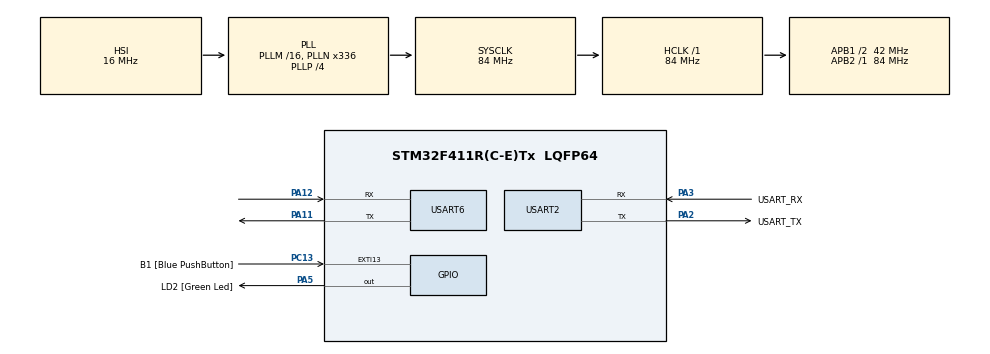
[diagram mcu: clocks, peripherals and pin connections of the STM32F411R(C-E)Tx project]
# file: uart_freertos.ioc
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FREERTOS.Tasks01=defaultTask,24,128,StartDefaultTask,Default,NULL,Dynamic,NULL,NULL
FREERTOS.configUSE_NEWLIB_REENTRANT=1
Mcu.Family=STM32F4
Mcu.Name=STM32F411R(C-E)Tx
Mcu.Package=LQFP64
NVIC.PriorityGroup=NVIC_PRIORITYGROUP_4
NVIC.TIM4_IRQn=true\:15\:0\:false\:false\:true\:false\:false\:true\:true
NVIC.TimeBase=TIM4_IRQn
NVIC.TimeBaseIP=TIM4
NVIC.USART6_IRQn=true\:5\:0\:false\:false\:true\:true\:true\:true\:true
PA11.Mode=Asynchronous
PA11.Signal=USART6_TX
PA12.Mode=Asynchronous
PA12.Signal=USART6_RX
PA13.GPIO_Label=TMS
PA13.Mode=Serial_Wire
PA13.Signal=SYS_JTMS-SWDIO
PA14.GPIO_Label=TCK
PA14.Mode=Serial_Wire
PA14.Signal=SYS_JTCK-SWCLK
PA2.GPIO_Label=USART_TX
PA2.Mode=Asynchronous
PA2.Signal=USART2_TX
PA3.GPIO_Label=USART_RX
PA3.Mode=Asynchronous
PA3.Signal=USART2_RX
PA5.GPIO_Label=LD2 [Green Led]
PA5.Signal=GPIO_Output
PB3.GPIO_Label=SWO
PB3.Signal=SYS_JTDO-SWO
PC13-ANTI_TAMP.GPIO_Label=B1 [Blue PushButton]
PC13-ANTI_TAMP.GPIO_ModeDefaultEXTI=GPIO_MODE_IT_FALLING
PC13-ANTI_TAMP.Signal=GPXTI13
PC14-OSC32_IN.Mode=LSE-External-Oscillator
PC14-OSC32_IN.Signal=RCC_OSC32_IN
PC15-OSC32_OUT.Mode=LSE-External-Oscillator
PC15-OSC32_OUT.Signal=RCC_OSC32_OUT
PH0\ -\ OSC_IN.Mode=HSE-External-Clock-Source
PH0\ -\ OSC_IN.Signal=RCC_OSC_IN
PH1\ -\ OSC_OUT.Mode=HSE-External-Clock-Source
PH1\ -\ OSC_OUT.Signal=RCC_OSC_OUT
ProjectManager.HeapSize=0x200
ProjectManager.StackSize=0x400
ProjectManager.TargetToolchain=STM32CubeIDE
RCC.48MHZClocksFreq_Value=84000000
RCC.AHBFreq_Value=84000000
RCC.APB1CLKDivider=RCC_HCLK_DIV2
RCC.APB1Freq_Value=42000000
RCC.APB1TimFreq_Value=84000000
RCC.APB2Freq_Value=84000000
RCC.APB2TimFreq_Value=84000000
RCC.CortexFreq_Value=84000000
RCC.FLatency-AdvancedSettings=FLASH_LATENCY_2
RCC.HCLKFreq_Value=84000000
RCC.HSE_VALUE=8000000
RCC.HSI_VALUE=16000000
RCC.PLLN=336
RCC.PLLP=RCC_PLLP_DIV4
RCC.SYSCLKFreq_VALUE=84000000
RCC.SYSCLKSource=RCC_SYSCLKSOURCE_PLLCLK
RCC.VCOOutputFreq_Value=336000000
USART2.VirtualMode=VM_ASYNC
USART6.VirtualMode=VM_ASYNC
VP_FREERTOS_VS_CMSIS_V2.Mode=CMSIS_V2
VP_SYS_VS_tim4.Mode=TIM4
board=NUCLEO-F411RE

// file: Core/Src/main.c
/* USER CODE BEGIN Header */
/**
  ******************************************************************************
  * @file           : main.c
  * @brief          : Main program body (FreeRTOS + UART6 IRQ + Queue + Task)
  ******************************************************************************
  * @attention
  *
  * Copyright (c) 2025 STMicroelectronics.
  * All rights reserved.
  *
  * This software is licensed under terms that can be found in the LICENSE file
  * in the root directory of this software component.
  * If no LICENSE file comes with this software, it is provided AS-IS.
  *
  ******************************************************************************
  */
/* USER CODE END Header */
#include "main.h"
#include "cmsis_os2.h"

/* USER CODE BEGIN Includes */
#include <stdio.h>
#include <string.h>
/* USER CODE END Includes */

/* USER CODE BEGIN PD */
#ifdef __GNUC__
/* With GCC, small printf (option LD Linker->Libraries->Small printf set to 'Yes') calls __io_putchar() */
#define PUTCHAR_PROTOTYPE int __io_putchar(int ch)
#else
#define PUTCHAR_PROTOTYPE int fputc(int ch, FILE *f)
#endif /* __GNUC__ */

#define RX_BUF_SIZE 256
/* USER CODE END PD */

UART_HandleTypeDef huart2;
UART_HandleTypeDef huart6;

/* Definitions for defaultTask */
osThreadId_t defaultTaskHandle;
const osThreadAttr_t defaultTask_attributes = {
  .name = "defaultTask",
  .stack_size = 128 * 4,
  .priority = (osPriority_t) osPriorityNormal,
};

/* USER CODE BEGIN PV */
/* FreeRTOS objects */
osMessageQueueId_t uart6RxQHandle;   /* 1-byte RX queue */
osMutexId_t        printfMtxHandle;  /* printf 보호용 뮤텍스 */

/* IRQ 1-byte buffer (UART6) */
static uint8_t s_rx_ch;
/* USER CODE END PV */

void SystemClock_Config(void);
static void MX_GPIO_Init(void);
static void MX_USART2_UART_Init(void);
static void MX_USART6_UART_Init(void);
void StartDefaultTask(void *argument);

/* USER CODE BEGIN PFP */
static void U6RxTask(void *argument);
/* USER CODE END PFP */

int main(void)
{
  /* MCU Configuration--------------------------------------------------------*/
  HAL_Init();
  SystemClock_Config();

  MX_GPIO_Init();
  MX_USART2_UART_Init();
  MX_USART6_UART_Init();

  /* Init scheduler */
  osKernelInitialize();

  /* USER CODE BEGIN RTOS_MUTEX */
  /* printf 보호용 뮤텍스 */
  const osMutexAttr_t printfMtxAttr = { .name = "printfMtx" };
  printfMtxHandle = osMutexNew(&printfMtxAttr);
  /* USER CODE END RTOS_MUTEX */

  /* USER CODE BEGIN RTOS_QUEUES */
  /* UART6 1바이트 큐 생성 */
  uart6RxQHandle = osMessageQueueNew(256, sizeof(uint8_t), NULL);
  /* USER CODE END RTOS_QUEUES */

  /* Create the thread(s) */
  /* creation of defaultTask (원하면 유지/삭제 선택) */
  defaultTaskHandle = osThreadNew(StartDefaultTask, NULL, &defaultTask_attributes);

  /* USER CODE BEGIN RTOS_THREADS */
  /* UART6 수신 처리 태스크 생성 */
  const osThreadAttr_t u6TaskAttr = {
    .name = "U6RxTask",
    .priority = osPriorityNormal,
    .stack_size = 1024 /* bytes */
  };
  osThreadNew(U6RxTask, NULL, &u6TaskAttr);
  /* USER CODE END RTOS_THREADS */

  /* USER CODE BEGIN 2 */
  /* 큐/태스크가 준비된 뒤 IRQ 수신 시작 */
  HAL_UART_Receive_IT(&huart6, &s_rx_ch, 1);

  /* 부팅 메시지 */
  printf("STM32 UART6 + FreeRTOS (CMSIS-RTOS v2) start\r\n");
  /* USER CODE END 2 */

  /* Start scheduler */
  osKernelStart();

  /* We should never get here as control is now taken by the scheduler */

  /* Infinite loop */
  while (1)
  {

    /* USER CODE BEGIN 3 */
    /* RTOS 사용 중에는 여기 도달하지 않음 */
  }
  /* USER CODE END 3 */
}

void SystemClock_Config(void)
{
  RCC_OscInitTypeDef RCC_OscInitStruct = {0};
  RCC_ClkInitTypeDef RCC_ClkInitStruct = {0};

  /** Configure the main internal regulator output voltage */
  __HAL_RCC_PWR_CLK_ENABLE();
  __HAL_PWR_VOLTAGESCALING_CONFIG(PWR_REGULATOR_VOLTAGE_SCALE1);

  /** Initializes the RCC Oscillators according to the specified parameters
    * in the RCC_OscInitTypeDef structure. */
  RCC_OscInitStruct.OscillatorType = RCC_OSCILLATORTYPE_HSI;
  RCC_OscInitStruct.HSIState = RCC_HSI_ON;
  RCC_OscInitStruct.HSICalibrationValue = RCC_HSICALIBRATION_DEFAULT;
  RCC_OscInitStruct.PLL.PLLState = RCC_PLL_ON;
  RCC_OscInitStruct.PLL.PLLSource = RCC_PLLSOURCE_HSI;
  RCC_OscInitStruct.PLL.PLLM = 16;
  RCC_OscInitStruct.PLL.PLLN = 336;
  RCC_OscInitStruct.PLL.PLLP = RCC_PLLP_DIV4;
  RCC_OscInitStruct.PLL.PLLQ = 4;
  if (HAL_RCC_OscConfig(&RCC_OscInitStruct) != HAL_OK) { Error_Handler(); }

  /** Initializes the CPU, AHB and APB buses clocks */
  RCC_ClkInitStruct.ClockType = RCC_CLOCKTYPE_HCLK|RCC_CLOCKTYPE_SYSCLK
                              |RCC_CLOCKTYPE_PCLK1|RCC_CLOCKTYPE_PCLK2;
  RCC_ClkInitStruct.SYSCLKSource   = RCC_SYSCLKSOURCE_PLLCLK;
  RCC_ClkInitStruct.AHBCLKDivider  = RCC_SYSCLK_DIV1;
  RCC_ClkInitStruct.APB1CLKDivider = RCC_HCLK_DIV2;
  RCC_ClkInitStruct.APB2CLKDivider = RCC_HCLK_DIV1;
  if (HAL_RCC_ClockConfig(&RCC_ClkInitStruct, FLASH_LATENCY_2) != HAL_OK) { Error_Handler(); }
}

static void MX_USART2_UART_Init(void)
{
  huart2.Instance = USART2;
  huart2.Init.BaudRate = 115200;
  huart2.Init.WordLength = UART_WORDLENGTH_8B;
  huart2.Init.StopBits = UART_STOPBITS_1;
  huart2.Init.Parity = UART_PARITY_NONE;
  huart2.Init.Mode = UART_MODE_TX_RX;
  huart2.Init.HwFlowCtl = UART_HWCONTROL_NONE;
  huart2.Init.OverSampling = UART_OVERSAMPLING_16;
  if (HAL_UART_Init(&huart2) != HAL_OK) { Error_Handler(); }
}

static void MX_USART6_UART_Init(void)
{
  huart6.Instance = USART6;
  huart6.Init.BaudRate = 115200;
  huart6.Init.WordLength = UART_WORDLENGTH_8B;
  huart6.Init.StopBits = UART_STOPBITS_1;
  huart6.Init.Parity = UART_PARITY_NONE;
  huart6.Init.Mode = UART_MODE_TX_RX;
  huart6.Init.HwFlowCtl = UART_HWCONTROL_NONE;
  huart6.Init.OverSampling = UART_OVERSAMPLING_16;
  if (HAL_UART_Init(&huart6) != HAL_OK) { Error_Handler(); }
}

static void MX_GPIO_Init(void)
{
  GPIO_InitTypeDef GPIO_InitStruct = {0};

  __HAL_RCC_GPIOC_CLK_ENABLE();
  __HAL_RCC_GPIOH_CLK_ENABLE();
  __HAL_RCC_GPIOA_CLK_ENABLE();
  __HAL_RCC_GPIOB_CLK_ENABLE();

  /*Configure GPIO pin : B1_Pin */
  GPIO_InitStruct.Pin = B1_Pin;
  GPIO_InitStruct.Mode = GPIO_MODE_IT_FALLING;
  GPIO_InitStruct.Pull = GPIO_NOPULL;
  HAL_GPIO_Init(B1_GPIO_Port, &GPIO_InitStruct);

  /*Configure GPIO pin : LD2_Pin */
  GPIO_InitStruct.Pin = LD2_Pin;
  GPIO_InitStruct.Mode = GPIO_MODE_OUTPUT_PP;
  GPIO_InitStruct.Pull = GPIO_NOPULL;
  GPIO_InitStruct.Speed = GPIO_SPEED_FREQ_LOW;
  HAL_GPIO_Init(LD2_GPIO_Port, &GPIO_InitStruct);

  /*Configure GPIO pin Output Level */
  HAL_GPIO_WritePin(LD2_GPIO_Port, LD2_Pin, GPIO_PIN_RESET);
}

/* USER CODE BEGIN 4 */
/**
  * @brief UART Rx Complete Callback (ISR context)
  */
void HAL_UART_RxCpltCallback(UART_HandleTypeDef *huart)
{
  if (huart->Instance == USART6)
  {
    uint8_t ch = s_rx_ch;

    /* ISR에서 큐에 푸시 (timeout=0 필수) */
    (void)osMessageQueuePut(uart6RxQHandle, &ch, 0, 0);

    /* 다음 1바이트 수신 재요청 */
    HAL_UART_Receive_IT(&huart6, &s_rx_ch, 1);
  }
}

/**
  * @brief UART6 Receive Task: 개행(\n)까지 버퍼링 후 로그 & 에코
  */
static void U6RxTask(void *argument)
{
  char    line[RX_BUF_SIZE];
  size_t  idx = 0;
  uint8_t ch;

  /* 시작 로그 */
  printf("U6RxTask started\r\n");

  for (;;)
  {
    if (osMessageQueueGet(uart6RxQHandle, &ch, NULL, osWaitForever) == osOK)
    {
      if (ch == '\r') continue;     /* CR 무시(선택) */

      if (ch == '\n')               /* 한 줄 완성 */
      {
        line[idx] = '\0';

        printf("Received: %s\r\n", line);

        if (idx > 0)
          HAL_UART_Transmit(&huart6, (uint8_t*)line, idx, 100);
        uint8_t lf = '\n';
        HAL_UART_Transmit(&huart6, &lf, 1, 100);

        idx = 0;
      }
      else
      {
        if (idx < sizeof(line) - 1) line[idx++] = (char)ch;
        else idx = 0; /* overflow 정책: 리셋 */
      }
    }
  }
}

/* printf retarget to UART2 (뮤텍스 보호: 커널 실행 중일 때만 사용) */
PUTCHAR_PROTOTYPE
{
  if (osKernelGetState() == osKernelRunning && printfMtxHandle)
  {
    osMutexAcquire(printfMtxHandle, osWaitForever);
    HAL_UART_Transmit(&huart2, (uint8_t *)&ch, 1, 0xFFFF);
    osMutexRelease(printfMtxHandle);
  }
  else
  {
    HAL_UART_Transmit(&huart2, (uint8_t *)&ch, 1, 0xFFFF);
  }
  return ch;
}
/* USER CODE END 4 */

void StartDefaultTask(void *argument)
{
  for(;;)
  {
    osDelay(1);
  }
}

void HAL_TIM_PeriodElapsedCallback(TIM_HandleTypeDef *htim)
{
  if (htim->Instance == TIM4)
  {
    HAL_IncTick();
  }
}

void Error_Handler(void)
{
  __disable_irq();
  while (1) { }
}
